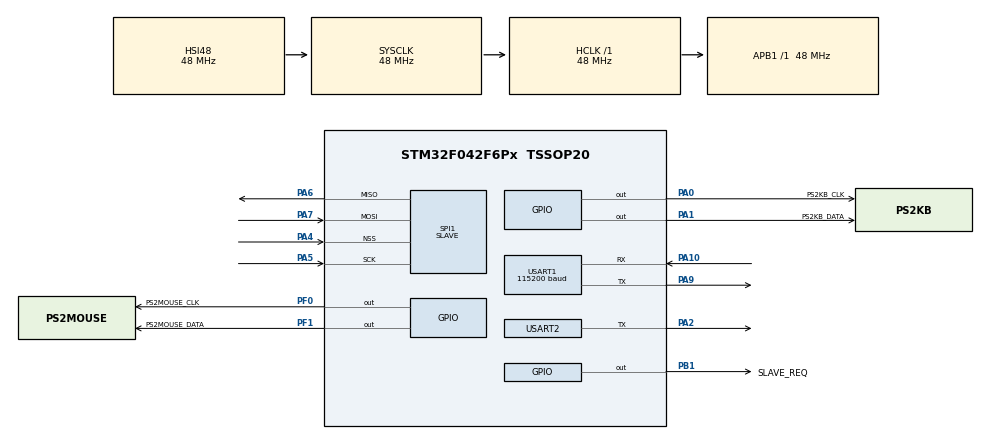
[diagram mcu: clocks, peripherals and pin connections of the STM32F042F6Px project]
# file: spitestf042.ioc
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Mcu.Family=STM32F0
Mcu.Name=STM32F042F6Px
Mcu.Package=TSSOP20
NVIC.SPI1_IRQn=true\:0\:0\:false\:false\:true\:true
NVIC.USART2_IRQn=true\:1\:0\:true\:false\:true\:true
PA0.GPIO_Label=PS2KB_CLK
PA0.GPIO_ModeDefaultOutputPP=GPIO_MODE_OUTPUT_OD
PA0.PinState=GPIO_PIN_SET
PA0.Signal=GPIO_Output
PA1.GPIO_Label=PS2KB_DATA
PA1.GPIO_ModeDefaultOutputPP=GPIO_MODE_OUTPUT_OD
PA1.PinState=GPIO_PIN_SET
PA1.Signal=GPIO_Output
PA10.Mode=Asynchronous
PA10.Signal=USART1_RX
PA13.Mode=Serial_Wire
PA13.Signal=SYS_SWDIO
PA14.Mode=Serial_Wire
PA14.Signal=SYS_SWCLK
PA2.Mode=Half_duplex(single_wire_mode)
PA2.Signal=USART2_TX
PA4.Mode=NSS_Signal_Hard_Input
PA4.Signal=SPI1_NSS
PA5.Mode=Full_Duplex_Slave
PA5.Signal=SPI1_SCK
PA6.Mode=Full_Duplex_Slave
PA6.Signal=SPI1_MISO
PA7.Mode=Full_Duplex_Slave
PA7.Signal=SPI1_MOSI
PA9.Mode=Asynchronous
PA9.Signal=USART1_TX
PB1.GPIO_Label=SLAVE_REQ
PB1.Signal=GPIO_Output
PF0-OSC_IN.GPIO_Label=PS2MOUSE_CLK
PF0-OSC_IN.GPIO_ModeDefaultOutputPP=GPIO_MODE_OUTPUT_OD
PF0-OSC_IN.PinState=GPIO_PIN_SET
PF0-OSC_IN.Signal=GPIO_Output
PF1-OSC_OUT.GPIO_Label=PS2MOUSE_DATA
PF1-OSC_OUT.GPIO_ModeDefaultOutputPP=GPIO_MODE_OUTPUT_OD
PF1-OSC_OUT.PinState=GPIO_PIN_SET
PF1-OSC_OUT.Signal=GPIO_Output
ProjectManager.HeapSize=0x200
ProjectManager.StackSize=0x400
ProjectManager.TargetToolchain=MDK-ARM V5
RCC.AHBFreq_Value=48000000
RCC.APB1Freq_Value=48000000
RCC.APB1TimFreq_Value=48000000
RCC.HCLKFreq_Value=48000000
RCC.SYSCLKFreq_VALUE=48000000
RCC.SYSCLKSource=RCC_SYSCLKSOURCE_HSI48
SPI1.DataSize=SPI_DATASIZE_8BIT
SPI1.Direction=SPI_DIRECTION_2LINES
SPI1.Mode=SPI_MODE_SLAVE
SPI1.VirtualNSS=VM_NSSHARD
SPI1.VirtualType=VM_SLAVE
TIM2.Period=4294967295
TIM2.Prescaler=47
USART1.BaudRate=115200
USART1.VirtualMode=VM_ASYNC
USART2.BaudRate=1200
USART2.Mode=MODE_TX
USART2.TxPinLevelInvertParam=UART_ADVFEATURE_TXINV_DISABLE
USART2.VirtualMode-Half_duplex(single_wire_mode)=VM_ASYNC
USART2.WordLength=WORDLENGTH_7B
VP_TIM2_VS_ClockSourceINT.Mode=Internal
board=custom

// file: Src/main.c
/**
  ******************************************************************************
  * @file           : main.c
  * @brief          : Main program body
  ******************************************************************************
  ** This notice applies to any and all portions of this file
  * that are not between comment pairs USER CODE BEGIN and
  * USER CODE END. Other portions of this file, whether
  * inserted by the user or by software development tools
  * are owned by their respective copyright owners.
  *
  * COPYRIGHT(c) 2021 STMicroelectronics
  *
  * Redistribution and use in source and binary forms, with or without modification,
  * are permitted provided that the following conditions are met:
  *   1. Redistributions of source code must retain the above copyright notice,
  *      this list of conditions and the following disclaimer.
  *   2. Redistributions in binary form must reproduce the above copyright notice,
  *      this list of conditions and the following disclaimer in the documentation
  *      and/or other materials provided with the distribution.
  *   3. Neither the name of STMicroelectronics nor the names of its contributors
  *      may be used to endorse or promote products derived from this software
  *      without specific prior written permission.
  *
  * THIS SOFTWARE IS PROVIDED BY THE COPYRIGHT HOLDERS AND CONTRIBUTORS "AS IS"
  * AND ANY EXPRESS OR IMPLIED WARRANTIES, INCLUDING, BUT NOT LIMITED TO, THE
  * IMPLIED WARRANTIES OF MERCHANTABILITY AND FITNESS FOR A PARTICULAR PURPOSE ARE
  * DISCLAIMED. IN NO EVENT SHALL THE COPYRIGHT HOLDER OR CONTRIBUTORS BE LIABLE
  * FOR ANY DIRECT, INDIRECT, INCIDENTAL, SPECIAL, EXEMPLARY, OR CONSEQUENTIAL
  * DAMAGES (INCLUDING, BUT NOT LIMITED TO, PROCUREMENT OF SUBSTITUTE GOODS OR
  * SERVICES; LOSS OF USE, DATA, OR PROFITS; OR BUSINESS INTERRUPTION) HOWEVER
  * CAUSED AND ON ANY THEORY OF LIABILITY, WHETHER IN CONTRACT, STRICT LIABILITY,
  * OR TORT (INCLUDING NEGLIGENCE OR OTHERWISE) ARISING IN ANY WAY OUT OF THE USE
  * OF THIS SOFTWARE, EVEN IF ADVISED OF THE POSSIBILITY OF SUCH DAMAGE.
  *
  ******************************************************************************
  */
#include "main.h"
#include "stm32f0xx_hal.h"

/* USER CODE BEGIN Includes */
#include "delay_us.h"
#include "shared.h"
#include "helpers.h"
#include "ps2kb.h"
#include <string.h>
#include "ps2mouse.h"

/* USER CODE END Includes */

SPI_HandleTypeDef hspi1;

TIM_HandleTypeDef htim2;

UART_HandleTypeDef huart1;
UART_HandleTypeDef huart2;

/* USER CODE BEGIN PV */
/* Private variables ---------------------------------------------------------*/
uint8_t spi_transmit_buf[SPI_BUF_SIZE];
uint8_t backup_spi1_recv_buf[SPI_BUF_SIZE];
uint8_t spi_recv_buf[SPI_BUF_SIZE];
ps2kb_buf my_ps2kb_buf;
ps2mouse_buf my_ps2mouse_buf;
uint8_t ps2kb_host_cmd, ps2kb_leds, ps2mouse_host_cmd, buffered_code, buffered_value, ps2mouse_bus_status, ps2kb_bus_status;
/* USER CODE END PV */

void SystemClock_Config(void);
static void MX_GPIO_Init(void);
static void MX_USART1_UART_Init(void);
static void MX_SPI1_Init(void);
static void MX_TIM2_Init(void);
static void MX_USART2_UART_Init(void);

/* USER CODE BEGIN PFP */
/* Private function prototypes -----------------------------------------------*/

/* USER CODE END PFP */

/* USER CODE BEGIN 0 */
int fputc(int ch, FILE *f)
{
  HAL_UART_Transmit(&huart1, (unsigned char *)&ch, 1, 100);
  return ch;
}

int16_t byte_to_int16_t(uint8_t lsb, uint8_t msb)
{
  return (int16_t)((msb << 8) | lsb);
}

/*
  This is called when a new SPI packet is received
  This is part of an ISR, so better keep it short!
*/
void HAL_SPI_TxRxCpltCallback(SPI_HandleTypeDef *hspi)
{
  memcpy(backup_spi1_recv_buf, spi_recv_buf, SPI_BUF_SIZE);
  HAL_SPI_TransmitReceive_IT(&hspi1, spi_transmit_buf, spi_recv_buf, SPI_BUF_SIZE);

  if(backup_spi1_recv_buf[0] != 0xde)
  {
    printf("WRONG");
    while(1);
  }

  if(backup_spi1_recv_buf[SPI_BUF_INDEX_MSG_TYPE] == SPI_MOSI_MSG_KB_EVENT)
    ps2kb_buf_add(&my_ps2kb_buf, backup_spi1_recv_buf[6], backup_spi1_recv_buf[8]);

  if(backup_spi1_recv_buf[SPI_BUF_INDEX_MSG_TYPE] == SPI_MOSI_MSG_MOUSE_EVENT)
  {
    mouse_event this_event;
    this_event.movement_x = byte_to_int16_t(backup_spi1_recv_buf[4], backup_spi1_recv_buf[5]);
    this_event.movement_y = -1 * byte_to_int16_t(backup_spi1_recv_buf[6], backup_spi1_recv_buf[7]);
    this_event.scroll_vertical = -1 * byte_to_int16_t(backup_spi1_recv_buf[8], backup_spi1_recv_buf[9]);
    this_event.button_left = backup_spi1_recv_buf[13];
    this_event.button_right = backup_spi1_recv_buf[14];
    this_event.button_middle = backup_spi1_recv_buf[15];
    this_event.button_side = backup_spi1_recv_buf[16];
    this_event.button_extra = backup_spi1_recv_buf[17];
    ps2mouse_buf_add(&my_ps2mouse_buf, &this_event);
  }

  if(backup_spi1_recv_buf[SPI_BUF_INDEX_MSG_TYPE] == SPI_MOSI_MSG_REQ_ACK)
    HAL_GPIO_WritePin(SLAVE_REQ_GPIO_Port, SLAVE_REQ_Pin, GPIO_PIN_RESET);
}

/* USER CODE END 0 */

int main(void)
{

  /* MCU Configuration----------------------------------------------------------*/

  /* Reset of all peripherals, Initializes the Flash interface and the Systick. */
  HAL_Init();

  /* Configure the system clock */
  SystemClock_Config();

  /* Initialize all configured peripherals */
  MX_GPIO_Init();
  MX_USART1_UART_Init();
  MX_SPI1_Init();
  MX_TIM2_Init();
  MX_USART2_UART_Init();
  /* USER CODE BEGIN 2 */
	delay_us_init(&htim2);
  ps2kb_init(PS2KB_CLK_GPIO_Port, PS2KB_CLK_Pin, PS2KB_DATA_GPIO_Port, PS2KB_DATA_Pin);
  ps2mouse_init(PS2MOUSE_CLK_GPIO_Port, PS2MOUSE_CLK_Pin, PS2MOUSE_DATA_GPIO_Port, PS2MOUSE_DATA_Pin);
  ps2kb_buf_init(&my_ps2kb_buf, 16);
  ps2mouse_buf_init(&my_ps2mouse_buf, 16);
  memset(spi_transmit_buf, 0, SPI_BUF_SIZE);
	HAL_SPI_TransmitReceive_IT(&hspi1, spi_transmit_buf, spi_recv_buf, SPI_BUF_SIZE);
  printf("hello world\n");
  mouse_event* this_mouse_event;
  /* USER CODE END 2 */

  /* Infinite loop */
  while (1)
  {

  /* USER CODE BEGIN 3 */

    // don't forget to add
    // huart2.Init.WordLength = UART_WORDLENGTH_7B;

    printf("hello\n");
    // uint8_t to_send[2] = {0x4d, 0x0}; // 0x4d = M
    // HAL_UART_Transmit(&huart2, to_send, 1, 100);
    uint8_t to_send[3] = {0x4c, 0x00, 0x3f};
    HAL_UART_Transmit(&huart2, to_send, 3, 100);
    HAL_Delay(500);

  //   ps2mouse_bus_status = ps2mouse_get_bus_status();
  //   if(ps2mouse_bus_status == PS2_BUS_INHIBIT)
  //   {
  //     ps2mouse_release_lines();
  //   }
  //   else if(ps2mouse_bus_status == PS2_BUS_REQ_TO_SEND)
  //   {
  //     ps2mouse_read(&ps2mouse_host_cmd, 10);
  //     ps2mouse_host_req_reply(ps2mouse_host_cmd);
  //   }

  //   this_mouse_event = ps2mouse_buf_get(&my_ps2mouse_buf);
  //   if(this_mouse_event != NULL)
  //   {
  //     ps2mouse_send_update(this_mouse_event);
  //   }

  //   ps2kb_bus_status = ps2kb_get_bus_status();
  //   if(ps2kb_bus_status == PS2_BUS_INHIBIT)
  //   {
  //     ps2kb_release_lines();
  //   }
		// else if(ps2kb_bus_status == PS2_BUS_REQ_TO_SEND)
  //   {
  //     ps2kb_leds = 0xff;
  //     ps2kb_read(&ps2kb_host_cmd, 10);
  //     keyboard_reply(ps2kb_host_cmd, &ps2kb_leds);
  //     if(ps2kb_leds != 0xff)
  //     {
  //       memset(spi_transmit_buf, 0, SPI_BUF_SIZE);
  //       spi_transmit_buf[SPI_BUF_INDEX_MAGIC] = SPI_MISO_MAGIC;
  //       spi_transmit_buf[SPI_BUF_INDEX_SEQNUM] = backup_spi1_recv_buf[SPI_BUF_INDEX_SEQNUM];
  //       spi_transmit_buf[SPI_BUF_INDEX_MSG_TYPE] = SPI_MISO_MSG_KB_LED_REQ;
  //       spi_transmit_buf[3] = ps2kb_leds;
  //       HAL_GPIO_WritePin(SLAVE_REQ_GPIO_Port, SLAVE_REQ_Pin, GPIO_PIN_SET);
  //     }
  //   }

  //   if(ps2kb_buf_get(&my_ps2kb_buf, &buffered_code, &buffered_value) == 0)
  //     ps2kb_press_key(buffered_code, buffered_value);
  }
  /* USER CODE END 3 */

}

void SystemClock_Config(void)
{

  RCC_OscInitTypeDef RCC_OscInitStruct;
  RCC_ClkInitTypeDef RCC_ClkInitStruct;
  RCC_PeriphCLKInitTypeDef PeriphClkInit;

    /**Initializes the CPU, AHB and APB busses clocks
    */
  RCC_OscInitStruct.OscillatorType = RCC_OSCILLATORTYPE_HSI48;
  RCC_OscInitStruct.HSI48State = RCC_HSI48_ON;
  RCC_OscInitStruct.PLL.PLLState = RCC_PLL_NONE;
  if (HAL_RCC_OscConfig(&RCC_OscInitStruct) != HAL_OK)
  {
    _Error_Handler(__FILE__, __LINE__);
  }

    /**Initializes the CPU, AHB and APB busses clocks
    */
  RCC_ClkInitStruct.ClockType = RCC_CLOCKTYPE_HCLK|RCC_CLOCKTYPE_SYSCLK
                              |RCC_CLOCKTYPE_PCLK1;
  RCC_ClkInitStruct.SYSCLKSource = RCC_SYSCLKSOURCE_HSI48;
  RCC_ClkInitStruct.AHBCLKDivider = RCC_SYSCLK_DIV1;
  RCC_ClkInitStruct.APB1CLKDivider = RCC_HCLK_DIV1;

  if (HAL_RCC_ClockConfig(&RCC_ClkInitStruct, FLASH_LATENCY_1) != HAL_OK)
  {
    _Error_Handler(__FILE__, __LINE__);
  }

  PeriphClkInit.PeriphClockSelection = RCC_PERIPHCLK_USART1;
  PeriphClkInit.Usart1ClockSelection = RCC_USART1CLKSOURCE_PCLK1;
  if (HAL_RCCEx_PeriphCLKConfig(&PeriphClkInit) != HAL_OK)
  {
    _Error_Handler(__FILE__, __LINE__);
  }

    /**Configure the Systick interrupt time
    */
  HAL_SYSTICK_Config(HAL_RCC_GetHCLKFreq()/1000);

    /**Configure the Systick
    */
  HAL_SYSTICK_CLKSourceConfig(SYSTICK_CLKSOURCE_HCLK);

  /* SysTick_IRQn interrupt configuration */
  HAL_NVIC_SetPriority(SysTick_IRQn, 0, 0);
}

/* SPI1 init function */
static void MX_SPI1_Init(void)
{

  /* SPI1 parameter configuration*/
  hspi1.Instance = SPI1;
  hspi1.Init.Mode = SPI_MODE_SLAVE;
  hspi1.Init.Direction = SPI_DIRECTION_2LINES;
  hspi1.Init.DataSize = SPI_DATASIZE_8BIT;
  hspi1.Init.CLKPolarity = SPI_POLARITY_LOW;
  hspi1.Init.CLKPhase = SPI_PHASE_1EDGE;
  hspi1.Init.NSS = SPI_NSS_HARD_INPUT;
  hspi1.Init.FirstBit = SPI_FIRSTBIT_MSB;
  hspi1.Init.TIMode = SPI_TIMODE_DISABLE;
  hspi1.Init.CRCCalculation = SPI_CRCCALCULATION_DISABLE;
  hspi1.Init.CRCPolynomial = 7;
  hspi1.Init.CRCLength = SPI_CRC_LENGTH_DATASIZE;
  hspi1.Init.NSSPMode = SPI_NSS_PULSE_DISABLE;
  if (HAL_SPI_Init(&hspi1) != HAL_OK)
  {
    _Error_Handler(__FILE__, __LINE__);
  }

}

/* TIM2 init function */
static void MX_TIM2_Init(void)
{

  TIM_ClockConfigTypeDef sClockSourceConfig;
  TIM_MasterConfigTypeDef sMasterConfig;

  htim2.Instance = TIM2;
  htim2.Init.Prescaler = 47;
  htim2.Init.CounterMode = TIM_COUNTERMODE_UP;
  htim2.Init.Period = 4294967295;
  htim2.Init.ClockDivision = TIM_CLOCKDIVISION_DIV1;
  htim2.Init.AutoReloadPreload = TIM_AUTORELOAD_PRELOAD_DISABLE;
  if (HAL_TIM_Base_Init(&htim2) != HAL_OK)
  {
    _Error_Handler(__FILE__, __LINE__);
  }

  sClockSourceConfig.ClockSource = TIM_CLOCKSOURCE_INTERNAL;
  if (HAL_TIM_ConfigClockSource(&htim2, &sClockSourceConfig) != HAL_OK)
  {
    _Error_Handler(__FILE__, __LINE__);
  }

  sMasterConfig.MasterOutputTrigger = TIM_TRGO_RESET;
  sMasterConfig.MasterSlaveMode = TIM_MASTERSLAVEMODE_DISABLE;
  if (HAL_TIMEx_MasterConfigSynchronization(&htim2, &sMasterConfig) != HAL_OK)
  {
    _Error_Handler(__FILE__, __LINE__);
  }

}

/* USART1 init function */
static void MX_USART1_UART_Init(void)
{

  huart1.Instance = USART1;
  huart1.Init.BaudRate = 115200;
  huart1.Init.WordLength = UART_WORDLENGTH_8B;
  huart1.Init.StopBits = UART_STOPBITS_1;
  huart1.Init.Parity = UART_PARITY_NONE;
  huart1.Init.Mode = UART_MODE_TX_RX;
  huart1.Init.HwFlowCtl = UART_HWCONTROL_NONE;
  huart1.Init.OverSampling = UART_OVERSAMPLING_16;
  huart1.Init.OneBitSampling = UART_ONE_BIT_SAMPLE_DISABLE;
  huart1.AdvancedInit.AdvFeatureInit = UART_ADVFEATURE_NO_INIT;
  if (HAL_UART_Init(&huart1) != HAL_OK)
  {
    _Error_Handler(__FILE__, __LINE__);
  }

}

/* USART2 init function */
static void MX_USART2_UART_Init(void)
{

  huart2.Instance = USART2;
  huart2.Init.BaudRate = 1200;
  huart2.Init.StopBits = UART_STOPBITS_1;
  huart2.Init.WordLength = UART_WORDLENGTH_7B;
  huart2.Init.Parity = UART_PARITY_NONE;
  huart2.Init.Mode = UART_MODE_TX;
  huart2.Init.HwFlowCtl = UART_HWCONTROL_NONE;
  huart2.Init.OverSampling = UART_OVERSAMPLING_16;
  huart2.Init.OneBitSampling = UART_ONE_BIT_SAMPLE_DISABLE;
  huart2.AdvancedInit.AdvFeatureInit = UART_ADVFEATURE_NO_INIT;
  if (HAL_HalfDuplex_Init(&huart2) != HAL_OK)
  {
    _Error_Handler(__FILE__, __LINE__);
  }

}

/** Configure pins as
        * Analog
        * Input
        * Output
        * EVENT_OUT
        * EXTI
*/
static void MX_GPIO_Init(void)
{

  GPIO_InitTypeDef GPIO_InitStruct;

  /* GPIO Ports Clock Enable */
  __HAL_RCC_GPIOF_CLK_ENABLE();
  __HAL_RCC_GPIOA_CLK_ENABLE();
  __HAL_RCC_GPIOB_CLK_ENABLE();

  /*Configure GPIO pin Output Level */
  HAL_GPIO_WritePin(GPIOF, PS2MOUSE_CLK_Pin|PS2MOUSE_DATA_Pin, GPIO_PIN_SET);

  /*Configure GPIO pin Output Level */
  HAL_GPIO_WritePin(GPIOA, PS2KB_CLK_Pin|PS2KB_DATA_Pin, GPIO_PIN_SET);

  /*Configure GPIO pin Output Level */
  HAL_GPIO_WritePin(SLAVE_REQ_GPIO_Port, SLAVE_REQ_Pin, GPIO_PIN_RESET);

  /*Configure GPIO pins : PS2MOUSE_CLK_Pin PS2MOUSE_DATA_Pin */
  GPIO_InitStruct.Pin = PS2MOUSE_CLK_Pin|PS2MOUSE_DATA_Pin;
  GPIO_InitStruct.Mode = GPIO_MODE_OUTPUT_OD;
  GPIO_InitStruct.Pull = GPIO_NOPULL;
  GPIO_InitStruct.Speed = GPIO_SPEED_FREQ_LOW;
  HAL_GPIO_Init(GPIOF, &GPIO_InitStruct);

  /*Configure GPIO pins : PS2KB_CLK_Pin PS2KB_DATA_Pin */
  GPIO_InitStruct.Pin = PS2KB_CLK_Pin|PS2KB_DATA_Pin;
  GPIO_InitStruct.Mode = GPIO_MODE_OUTPUT_OD;
  GPIO_InitStruct.Pull = GPIO_NOPULL;
  GPIO_InitStruct.Speed = GPIO_SPEED_FREQ_LOW;
  HAL_GPIO_Init(GPIOA, &GPIO_InitStruct);

  /*Configure GPIO pin : SLAVE_REQ_Pin */
  GPIO_InitStruct.Pin = SLAVE_REQ_Pin;
  GPIO_InitStruct.Mode = GPIO_MODE_OUTPUT_PP;
  GPIO_InitStruct.Pull = GPIO_NOPULL;
  GPIO_InitStruct.Speed = GPIO_SPEED_FREQ_LOW;
  HAL_GPIO_Init(SLAVE_REQ_GPIO_Port, &GPIO_InitStruct);

}

void _Error_Handler(char *file, int line)
{
  while(1)
  {
  }
}

/************************ (C) COPYRIGHT STMicroelectronics *****END OF FILE****/
